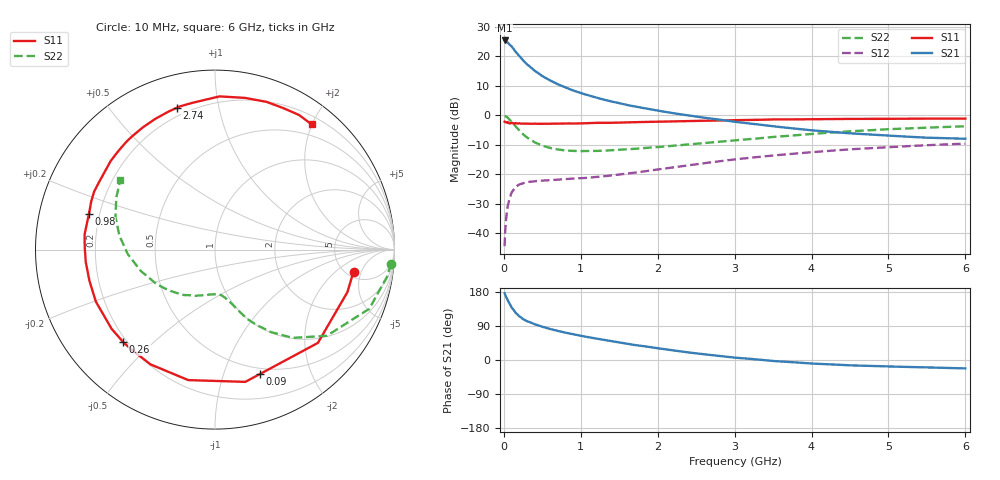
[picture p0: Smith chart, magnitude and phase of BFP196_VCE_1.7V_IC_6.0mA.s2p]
! Infineon Technologies  Discrete & RF Semiconductors
! BFP196
! VCE = 1.7 V,  IC = 6.0mA
! Common Emitter S-Parameters:  Jan 2016
# GHz  S  MA  R  50
!  f  S11  S21  S12  S22
! GHz  MAG  ANG  MAG  ANG  MAG  ANG  MAG  ANG
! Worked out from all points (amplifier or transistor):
!   210 points, 10 MHz to 6 GHz, reference 50 ohm
!   highest |S21| = 25.4 dB at 10 MHz (marker M1)
!   |S21| within 3 dB of that: start of sweep to 128.7 MHz
!   unconditionally stable (mu >= 1): 1.019 GHz to 3.4 GHz; 5.65 GHz to end of sweep
!   at 185 MHz: K = 0.22, MSG = 22.1 dB, |S12| = -23.7 dB
!   at 1.52 GHz: K = 1.18, MAG = 9.4 dB, |S12| = -20.0 dB
!   at 6 GHz: K = 1.01, MAG = 0.2 dB, |S12| = -9.6 dB
!   S11 on the Smith chart (normalised r, x): 10 MHz: 5.81, -3.65; 90 MHz: 0.44, -1.33; 260 MHz: 0.19, -0.40; 980 MHz: 0.16, +0.13; 2.74 GHz: 0.16, +0.75; 6 GHz: 0.32, +2.00
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0.01  0.7815 -9.0  18.56 176.2  0.0061 86.8  0.9835 -4.6
0.02  0.7749 -17.8  18.12 170.3  0.0123 81.7  0.9719 -8.7
0.05  0.7739 -42.2  17.17 157.2  0.0291 69.1  0.9206 -21.0
0.09  0.7371 -70.2  15.14 142.9  0.045 55.8  0.8077 -33.9
0.1  0.756 -77.1  14.8 138.8  0.0492 53.8  0.7869 -37.6
0.15  0.7422 -101.6  12.08 124.9  0.0608 43.4  0.6557 -48.6
0.2  0.7336 -119.4  10.14 115.4  0.0676 36.4  0.556 -55.8
0.24  0.7259 -130.2  8.84 109.5  0.0701 32.5  0.4928 -60.1
0.26  0.7259 -134.8  8.29 106.9  0.0715 31.0  0.4667 -62.0
0.3  0.7258 -142.5  7.349 102.5  0.0742 28.9  0.4241 -65.2
0.4  0.7243 -156.4  5.716 94.3  0.0769 25.4  0.3503 -70.0
0.5  0.7209 -166.1  4.629 87.6  0.0786 24.2  0.3068 -73.6
0.7  0.7259 178.9  3.374 76.6  0.0814 24.2  0.2646 -80.0
0.98  0.7299 164.3  2.435 64.8  0.0859 26.9  0.249 -87.4
1.02  0.7322 162.4  2.343 63.2  0.0865 27.4  0.2488 -88.6
1.4  0.7495 146.7  1.714 49.6  0.0959 32.5  0.2574 -100.1
2.02  0.7821 126.1  1.193 30.5  0.1223 38.3  0.2916 -119.4
2.74  0.8177 105.2  0.868 12.1  0.1633 37.9  0.352 -141.9
3.1  0.8302 96.7  0.753 4.7  0.1855 35.2  0.3871 -152.9
4.1  0.8623 77.2  0.546 -10.2  0.2435 25.2  0.4957 -179.5
5.1  0.8763 63.0  0.445 -17.6  0.2943 13.3  0.59 159.8
6  0.8812 52.3  0.402 -22.2  0.3326 2.0  0.6547 143.7
